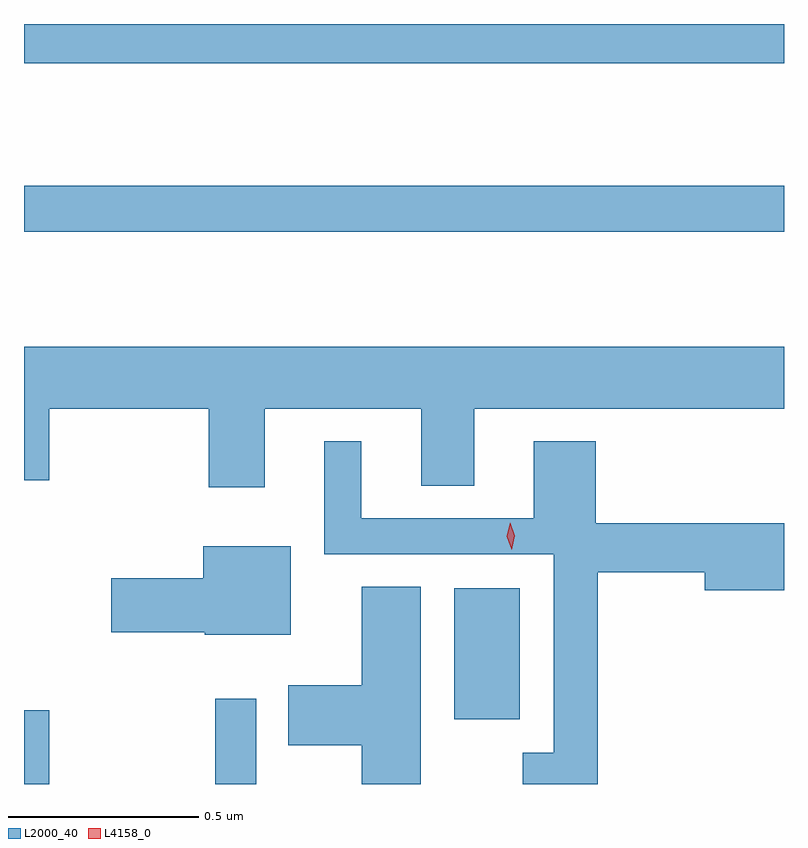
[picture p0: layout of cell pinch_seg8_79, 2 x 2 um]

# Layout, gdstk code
import gdstk
lib = gdstk.Library(unit=1e-6, precision=1e-09)
def R(c, l, rs):  # rectangles x0, y0, x1, y1
    for r in rs: c.add(gdstk.rectangle(r[:2], r[2:], *l))
def P(c, l, *ps):  # polygons
    for p in ps: c.add(gdstk.Polygon(p, *l))
L2000_40 = (2000, 40)
L4158_0 = (4158, 0)

pinch_seg8_79 = lib.new_cell('pinch_seg8_79')
R(pinch_seg8_79, L2000_40, [(1004.266,1100.861,1004.332,1101.055), (1004.769,1100.861,1004.877,1101.085), (1005.398,1101.032,1005.571,1101.376), (1004.266,1102.314,1006.266,1102.435), (1004.266,1102.758,1006.266,1102.861)])
P(pinch_seg8_79, L2000_40, [(1004.899,1101.848),(1005.311,1101.848),(1005.311,1101.646),(1005.451,1101.646),(1005.451,1101.848),(1006.266,1101.848),(1006.266,1102.012),(1004.266,1102.012),(1004.266,1101.66),(1004.332,1101.66),(1004.332,1101.848),(1004.752,1101.848),(1004.752,1101.642),(1004.899,1101.642)],
  [(1005.776,1101.418),(1006.058,1101.418),(1006.058,1101.371),(1006.266,1101.371),(1006.266,1101.547),(1005.77,1101.547),(1005.77,1101.763),(1005.608,1101.763),(1005.608,1101.561),(1005.154,1101.561),(1005.154,1101.763),(1005.056,1101.763),(1005.056,1101.465),(1005.66,1101.465),(1005.66,1100.943),(1005.579,1100.943),(1005.579,1100.861),(1005.776,1100.861)],
  [(1004.968,1101.487),(1004.738,1101.487),(1004.738,1101.402),(1004.496,1101.402),(1004.496,1101.26),(1004.742,1101.26),(1004.742,1101.254),(1004.968,1101.254)],
  [(1005.31,1101.38),(1005.155,1101.38),(1005.155,1101.121),(1004.962,1101.121),(1004.962,1100.963),(1005.155,1100.963),(1005.155,1100.861),(1005.31,1100.861)])
P(pinch_seg8_79, L4158_0, [(1005.549,1101.477),(1005.537,1101.513),(1005.545,1101.549),(1005.545,1101.549),(1005.546,1101.549),(1005.557,1101.514),(1005.55,1101.477),(1005.55,1101.477)])

lib.write_gds('pinch_seg8_79.gds')
